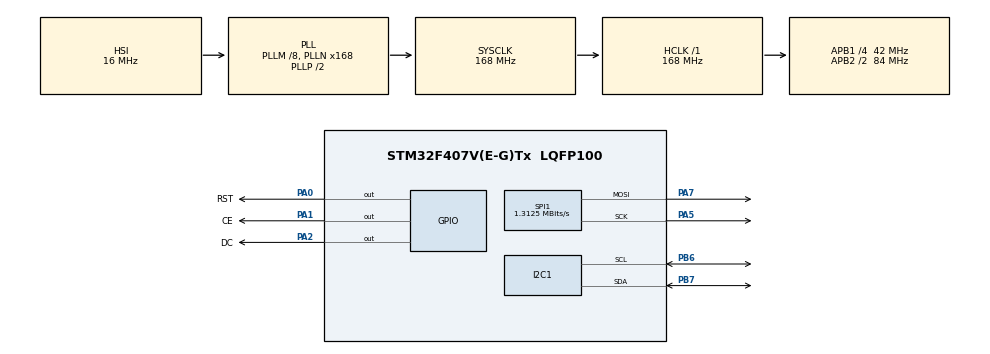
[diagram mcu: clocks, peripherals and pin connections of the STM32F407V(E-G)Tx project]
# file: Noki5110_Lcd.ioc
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Mcu.Family=STM32F4
Mcu.Name=STM32F407V(E-G)Tx
Mcu.Package=LQFP100
NVIC.PriorityGroup=NVIC_PRIORITYGROUP_4
PA0-WKUP.GPIO_Label=RST
PA0-WKUP.Signal=GPIO_Output
PA1.GPIO_Label=CE
PA1.Signal=GPIO_Output
PA2.GPIO_Label=DC
PA2.Signal=GPIO_Output
PA5.Mode=TX_Only_Simplex_Unidirect_Master
PA5.Signal=SPI1_SCK
PA7.Mode=TX_Only_Simplex_Unidirect_Master
PA7.Signal=SPI1_MOSI
PB6.Mode=I2C
PB6.Signal=I2C1_SCL
PB7.Mode=I2C
PB7.Signal=I2C1_SDA
PH0-OSC_IN.Mode=HSE-External-Oscillator
PH0-OSC_IN.Signal=RCC_OSC_IN
PH1-OSC_OUT.Mode=HSE-External-Oscillator
PH1-OSC_OUT.Signal=RCC_OSC_OUT
ProjectManager.HeapSize=0x200
ProjectManager.StackSize=0x400
ProjectManager.TargetToolchain=STM32CubeIDE
RCC.48MHZClocksFreq_Value=84000000
RCC.AHBFreq_Value=168000000
RCC.APB1CLKDivider=RCC_HCLK_DIV4
RCC.APB1Freq_Value=42000000
RCC.APB1TimFreq_Value=84000000
RCC.APB2CLKDivider=RCC_HCLK_DIV2
RCC.APB2Freq_Value=84000000
RCC.APB2TimFreq_Value=168000000
RCC.CortexFreq_Value=168000000
RCC.HCLKFreq_Value=168000000
RCC.HSE_VALUE=8000000
RCC.HSI_VALUE=16000000
RCC.LSE_VALUE=32768
RCC.PLLM=8
RCC.PLLN=168
RCC.SYSCLKFreq_VALUE=168000000
RCC.SYSCLKSource=RCC_SYSCLKSOURCE_PLLCLK
RCC.VCOOutputFreq_Value=336000000
SPI1.BaudRatePrescaler=SPI_BAUDRATEPRESCALER_64
SPI1.CalculateBaudRate=1.3125 MBits/s
SPI1.Direction=SPI_DIRECTION_2LINES
SPI1.Mode=SPI_MODE_MASTER
SPI1.VirtualType=VM_MASTER
board=custom

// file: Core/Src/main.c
/* USER CODE BEGIN Header */
/**
  ******************************************************************************
  * @file           : main.c
  * @brief          : Main program body
  ******************************************************************************
  * @attention
  *
  * Copyright (c) 2025 STMicroelectronics.
  * All rights reserved.
  *
  * This software is licensed under terms that can be found in the LICENSE file
  * in the root directory of this software component.
  * If no LICENSE file comes with this software, it is provided AS-IS.
  *
  ******************************************************************************
  */
/* USER CODE END Header */
#include "main.h"
#include "math.h"
#include <stdio.h>

/* USER CODE BEGIN PD */
#define LCD_RST_PORT GPIOA
#define LCD_RST_PIN  GPIO_PIN_0
#define LCD_CE_PORT  GPIOA
#define LCD_CE_PIN   GPIO_PIN_1
#define LCD_DC_PORT  GPIOA
#define LCD_DC_PIN   GPIO_PIN_2

#define SHT31_ADDR (0x44 << 1)
/* USER CODE END PD */

I2C_HandleTypeDef hi2c1;

SPI_HandleTypeDef hspi1;

/* USER CODE BEGIN PV */
const uint8_t ASCII[][5] = {
		0x00, 0x00, 0x00, 0x00, 0x00,  // 0x00 (nul)
			0x3E, 0x5B, 0x4F, 0x5B, 0x3E,  // 0x01 (soh)
			0x3E, 0x6B, 0x4F, 0x6B, 0x3E,  // 0x02 (stx)
			0x1C, 0x3E, 0x7C, 0x3E, 0x1C,  // 0x03 (etx)
			0x18, 0x3C, 0x7E, 0x3C, 0x18,  // 0x04 (eot)
			0x1C, 0x57, 0x7D, 0x57, 0x1C,  // 0x05 (enq)
			0x1C, 0x5E, 0x7F, 0x5E, 0x1C,  // 0x06 (ack)
			0x00, 0x18, 0x3C, 0x18, 0x00,  // 0x07 (bel)
			0xFF, 0xE7, 0xC3, 0xE7, 0xFF,  // 0x08 (bs)
			0x00, 0x18, 0x24, 0x18, 0x00,  // 0x09 (tab)
			0xFF, 0xE7, 0xDB, 0xE7, 0xFF,  // 0x0A (lf)
			0x30, 0x48, 0x3A, 0x06, 0x0E,  // 0x0B (vt)
			0x26, 0x29, 0x79, 0x29, 0x26,  // 0x0C (np)
			0x40, 0x7F, 0x05, 0x05, 0x07,  // 0x0D (cr)
			0x40, 0x7F, 0x05, 0x25, 0x3F,  // 0x0E (so)
			0x5A, 0x3C, 0xE7, 0x3C, 0x5A,  // 0x0F (si)
			0x7F, 0x3E, 0x1C, 0x1C, 0x08,  // 0x10 (dle)
			0x08, 0x1C, 0x1C, 0x3E, 0x7F,  // 0x11 (dc1)
			0x14, 0x22, 0x7F, 0x22, 0x14,  // 0x12 (dc2)
			0x5F, 0x5F, 0x00, 0x5F, 0x5F,  // 0x13 (dc3)
			0x06, 0x09, 0x7F, 0x01, 0x7F,  // 0x14 (dc4)
			0x00, 0x66, 0x89, 0x95, 0x6A,  // 0x15 (nak)
			0x60, 0x60, 0x60, 0x60, 0x60,  // 0x16 (syn)
			0x94, 0xA2, 0xFF, 0xA2, 0x94,  // 0x17 (etb)
			0x08, 0x04, 0x7E, 0x04, 0x08,  // 0x18 (can)
			0x10, 0x20, 0x7E, 0x20, 0x10,  // 0x19 (em)
			0x08, 0x08, 0x2A, 0x1C, 0x08,  // 0x1A (eof)
			0x08, 0x1C, 0x2A, 0x08, 0x08,  // 0x1B (esc)
			0x1E, 0x10, 0x10, 0x10, 0x10,  // 0x1C (fs)
			0x0C, 0x1E, 0x0C, 0x1E, 0x0C,  // 0x1D (gs)
			0x30, 0x38, 0x3E, 0x38, 0x30,  // 0x1E (rs)
			0x06, 0x0E, 0x3E, 0x0E, 0x06,  // 0x1F (us)
			0x00, 0x00, 0x00, 0x00, 0x00,  // 0x20
			0x00, 0x00, 0x5F, 0x00, 0x00,  // 0x21 !
			0x00, 0x07, 0x00, 0x07, 0x00,  // 0x22 "
			0x14, 0x7F, 0x14, 0x7F, 0x14,  // 0x23 #
			0x24, 0x2A, 0x7F, 0x2A, 0x12,  // 0x24 $
			0x23, 0x13, 0x08, 0x64, 0x62,  // 0x25 %
			0x36, 0x49, 0x56, 0x20, 0x50,  // 0x26 &
			0x00, 0x08, 0x07, 0x03, 0x00,  // 0x27 '
			0x00, 0x1C, 0x22, 0x41, 0x00,  // 0x28 (
			0x00, 0x41, 0x22, 0x1C, 0x00,  // 0x29 )
			0x2A, 0x1C, 0x7F, 0x1C, 0x2A,  // 0x2A *
			0x08, 0x08, 0x3E, 0x08, 0x08,  // 0x2B +
			0x00, 0x80, 0x70, 0x30, 0x00,  // 0x2C ,
			0x08, 0x08, 0x08, 0x08, 0x08,  // 0x2D -
			0x00, 0x00, 0x60, 0x60, 0x00,  // 0x2E .
			0x20, 0x10, 0x08, 0x04, 0x02,  // 0x2F /
			0x3E, 0x51, 0x49, 0x45, 0x3E,  // 0x30 0
			0x00, 0x42, 0x7F, 0x40, 0x00,  // 0x31 1
			0x72, 0x49, 0x49, 0x49, 0x46,  // 0x32 2
			0x21, 0x41, 0x49, 0x4D, 0x33,  // 0x33 3
			0x18, 0x14, 0x12, 0x7F, 0x10,  // 0x34 4
			0x27, 0x45, 0x45, 0x45, 0x39,  // 0x35 5
			0x3C, 0x4A, 0x49, 0x49, 0x31,  // 0x36 6
			0x41, 0x21, 0x11, 0x09, 0x07,  // 0x37 7
			0x36, 0x49, 0x49, 0x49, 0x36,  // 0x38 8
			0x46, 0x49, 0x49, 0x29, 0x1E,  // 0x39 9
			0x00, 0x00, 0x14, 0x00, 0x00,  // 0x3A :
			0x00, 0x40, 0x34, 0x00, 0x00,  // 0x3B ;
			0x00, 0x08, 0x14, 0x22, 0x41,  // 0x3C <
			0x14, 0x14, 0x14, 0x14, 0x14,  // 0x3D =
			0x00, 0x41, 0x22, 0x14, 0x08,  // 0x3E >
			0x02, 0x01, 0x59, 0x09, 0x06,  // 0x3F ?
			0x3E, 0x41, 0x5D, 0x59, 0x4E,  // 0x40 @
			0x7C, 0x12, 0x11, 0x12, 0x7C,  // 0x41 A
			0x7F, 0x49, 0x49, 0x49, 0x36,  // 0x42 B
			0x3E, 0x41, 0x41, 0x41, 0x22,  // 0x43 C
			0x7F, 0x41, 0x41, 0x41, 0x3E,  // 0x44 D
			0x7F, 0x49, 0x49, 0x49, 0x41,  // 0x45 E
			0x7F, 0x09, 0x09, 0x09, 0x01,  // 0x46 F
			0x3E, 0x41, 0x41, 0x51, 0x73,  // 0x47 G
			0x7F, 0x08, 0x08, 0x08, 0x7F,  // 0x48 H
			0x00, 0x41, 0x7F, 0x41, 0x00,  // 0x49 I
			0x20, 0x40, 0x41, 0x3F, 0x01,  // 0x4A J
			0x7F, 0x08, 0x14, 0x22, 0x41,  // 0x4B K
			0x7F, 0x40, 0x40, 0x40, 0x40,  // 0x4C L
			0x7F, 0x02, 0x1C, 0x02, 0x7F,  // 0x4D M
			0x7F, 0x04, 0x08, 0x10, 0x7F,  // 0x4E N
			0x3E, 0x41, 0x41, 0x41, 0x3E,  // 0x4F O
			0x7F, 0x09, 0x09, 0x09, 0x06,  // 0x50 P
			0x3E, 0x41, 0x51, 0x21, 0x5E,  // 0x51 Q
			0x7F, 0x09, 0x19, 0x29, 0x46,  // 0x52 R
			0x26, 0x49, 0x49, 0x49, 0x32,  // 0x53 S
			0x03, 0x01, 0x7F, 0x01, 0x03,  // 0x54 T
			0x3F, 0x40, 0x40, 0x40, 0x3F,  // 0x55 U
			0x1F, 0x20, 0x40, 0x20, 0x1F,  // 0x56 V
			0x3F, 0x40, 0x38, 0x40, 0x3F,  // 0x57 W
			0x63, 0x14, 0x08, 0x14, 0x63,  // 0x58 X
			0x03, 0x04, 0x78, 0x04, 0x03,  // 0x59 Y
			0x61, 0x59, 0x49, 0x4D, 0x43,  // 0x5A Z
			0x00, 0x7F, 0x41, 0x41, 0x41,  // 0x5B [
			0x02, 0x04, 0x08, 0x10, 0x20,  // 0x5C backslash
			0x00, 0x41, 0x41, 0x41, 0x7F,  // 0x5D ]
			0x04, 0x02, 0x01, 0x02, 0x04,  // 0x5E ^
			0x40, 0x40, 0x40, 0x40, 0x40,  // 0x5F _
			0x00, 0x03, 0x07, 0x08, 0x00,  // 0x60 `
			0x20, 0x54, 0x54, 0x78, 0x40,  // 0x61 a
			0x7F, 0x28, 0x44, 0x44, 0x38,  // 0x62 b
			0x38, 0x44, 0x44, 0x44, 0x28,  // 0x63 c
			0x38, 0x44, 0x44, 0x28, 0x7F,  // 0x64 d
			0x38, 0x54, 0x54, 0x54, 0x18,  // 0x65 e
			0x00, 0x08, 0x7E, 0x09, 0x02,  // 0x66 f
			0x18, 0xA4, 0xA4, 0x9C, 0x78,  // 0x67 g
			0x7F, 0x08, 0x04, 0x04, 0x78,  // 0x68 h
			0x00, 0x44, 0x7D, 0x40, 0x00,  // 0x69 i
			0x20, 0x40, 0x40, 0x3D, 0x00,  // 0x6A j
			0x7F, 0x10, 0x28, 0x44, 0x00,  // 0x6B k
			0x00, 0x41, 0x7F, 0x40, 0x00,  // 0x6C l
			0x7C, 0x04, 0x78, 0x04, 0x78,  // 0x6D m
			0x7C, 0x08, 0x04, 0x04, 0x78,  // 0x6E n
			0x38, 0x44, 0x44, 0x44, 0x38,  // 0x6F o
			0xFC, 0x18, 0x24, 0x24, 0x18,  // 0x70 p
			0x18, 0x24, 0x24, 0x18, 0xFC,  // 0x71 q
			0x7C, 0x08, 0x04, 0x04, 0x08,  // 0x72 r
			0x48, 0x54, 0x54, 0x54, 0x24,  // 0x73 s
			0x04, 0x04, 0x3F, 0x44, 0x24,  // 0x74 t
			0x3C, 0x40, 0x40, 0x20, 0x7C,  // 0x75 u
			0x1C, 0x20, 0x40, 0x20, 0x1C,  // 0x76 v
			0x3C, 0x40, 0x30, 0x40, 0x3C,  // 0x77 w
			0x44, 0x28, 0x10, 0x28, 0x44,  // 0x78 x
			0x4C, 0x90, 0x90, 0x90, 0x7C,  // 0x79 y
			0x44, 0x64, 0x54, 0x4C, 0x44,  // 0x7A z
			0x00, 0x08, 0x36, 0x41, 0x00,  // 0x7B {
			0x00, 0x00, 0x77, 0x00, 0x00,  // 0x7C |
			0x00, 0x41, 0x36, 0x08, 0x00,  // 0x7D }
			0x02, 0x01, 0x02, 0x04, 0x02,  // 0x7E ~
			0x3C, 0x26, 0x23, 0x26, 0x3C,  // 0x7F
			0x1E, 0xA1, 0xA1, 0x61, 0x12,  // 0x80
			0x3A, 0x40, 0x40, 0x20, 0x7A,  // 0x81
			0x38, 0x54, 0x54, 0x55, 0x59,  // 0x82
			0x21, 0x55, 0x55, 0x79, 0x41,  // 0x83
			0x22, 0x54, 0x54, 0x78, 0x42,  // 0x84
			0x21, 0x55, 0x54, 0x78, 0x40,  // 0x85
			0x20, 0x54, 0x55, 0x79, 0x40,  // 0x86
			0x0C, 0x1E, 0x52, 0x72, 0x12,  // 0x87
			0x39, 0x55, 0x55, 0x55, 0x59,  // 0x88
			0x39, 0x54, 0x54, 0x54, 0x59,  // 0x89
			0x39, 0x55, 0x54, 0x54, 0x58,  // 0x8A
			0x00, 0x00, 0x45, 0x7C, 0x41,  // 0x8B
			0x00, 0x02, 0x45, 0x7D, 0x42,  // 0x8C
			0x00, 0x01, 0x45, 0x7C, 0x40,  // 0x8D
			0x7D, 0x12, 0x11, 0x12, 0x7D,  // 0x8E
			0xF0, 0x28, 0x25, 0x28, 0xF0,  // 0x8F
			0x7C, 0x54, 0x55, 0x45, 0x00,  // 0x90
			0x20, 0x54, 0x54, 0x7C, 0x54,  // 0x91
			0x7C, 0x0A, 0x09, 0x7F, 0x49,  // 0x92
			0x32, 0x49, 0x49, 0x49, 0x32,  // 0x93
			0x3A, 0x44, 0x44, 0x44, 0x3A,  // 0x94
			0x32, 0x4A, 0x48, 0x48, 0x30,  // 0x95
			0x3A, 0x41, 0x41, 0x21, 0x7A,  // 0x96
			0x3A, 0x42, 0x40, 0x20, 0x78,  // 0x97
			0x00, 0x9D, 0xA0, 0xA0, 0x7D,  // 0x98
			0x3D, 0x42, 0x42, 0x42, 0x3D,  // 0x99
			0x3D, 0x40, 0x40, 0x40, 0x3D,  // 0x9A
			0x3C, 0x24, 0xFF, 0x24, 0x24,  // 0x9B
			0x48, 0x7E, 0x49, 0x43, 0x66,  // 0x9C
			0x2B, 0x2F, 0xFC, 0x2F, 0x2B,  // 0x9D
			0xFF, 0x09, 0x29, 0xF6, 0x20,  // 0x9E
			0xC0, 0x88, 0x7E, 0x09, 0x03,  // 0x9F
			0x20, 0x54, 0x54, 0x79, 0x41,  // 0xA0
			0x00, 0x00, 0x44, 0x7D, 0x41,  // 0xA1
			0x30, 0x48, 0x48, 0x4A, 0x32,  // 0xA2
			0x38, 0x40, 0x40, 0x22, 0x7A,  // 0xA3
			0x00, 0x7A, 0x0A, 0x0A, 0x72,  // 0xA4
			0x7D, 0x0D, 0x19, 0x31, 0x7D,  // 0xA5
			0x26, 0x29, 0x29, 0x2F, 0x28,  // 0xA6
			0x26, 0x29, 0x29, 0x29, 0x26,  // 0xA7
			0x30, 0x48, 0x4D, 0x40, 0x20,  // 0xA8
			0x38, 0x08, 0x08, 0x08, 0x08,  // 0xA9
			0x08, 0x08, 0x08, 0x08, 0x38,  // 0xAA
			0x2F, 0x10, 0xC8, 0xAC, 0xBA,  // 0xAB
			0x2F, 0x10, 0x28, 0x34, 0xFA,  // 0xAC
			0x00, 0x00, 0x7B, 0x00, 0x00,  // 0xAD
			0x08, 0x14, 0x2A, 0x14, 0x22,  // 0xAE
			0x22, 0x14, 0x2A, 0x14, 0x08,  // 0xAF
			0x55, 0x00, 0x55, 0x00, 0x55,  // 0xB0
			0xAA, 0x55, 0xAA, 0x55, 0xAA,  // 0xB1
			0xFF, 0x55, 0xFF, 0x55, 0xFF,  // 0xB2
			0x00, 0x00, 0x00, 0xFF, 0x00,  // 0xB3
			0x10, 0x10, 0x10, 0xFF, 0x00,  // 0xB4
			0x14, 0x14, 0x14, 0xFF, 0x00,  // 0xB5
			0x10, 0x10, 0xFF, 0x00, 0xFF,  // 0xB6
			0x10, 0x10, 0xF0, 0x10, 0xF0,  // 0xB7
			0x14, 0x14, 0x14, 0xFC, 0x00,  // 0xB8
			0x14, 0x14, 0xF7, 0x00, 0xFF,  // 0xB9
			0x00, 0x00, 0xFF, 0x00, 0xFF,  // 0xBA
			0x14, 0x14, 0xF4, 0x04, 0xFC,  // 0xBB
			0x14, 0x14, 0x17, 0x10, 0x1F,  // 0xBC
			0x10, 0x10, 0x1F, 0x10, 0x1F,  // 0xBD
			0x14, 0x14, 0x14, 0x1F, 0x00,  // 0xBE
			0x10, 0x10, 0x10, 0xF0, 0x00,  // 0xBF
			0x00, 0x00, 0x00, 0x1F, 0x10,  // 0xC0
			0x10, 0x10, 0x10, 0x1F, 0x10,  // 0xC1
			0x10, 0x10, 0x10, 0xF0, 0x10,  // 0xC2
			0x00, 0x00, 0x00, 0xFF, 0x10,  // 0xC3
			0x10, 0x10, 0x10, 0x10, 0x10,  // 0xC4
			0x10, 0x10, 0x10, 0xFF, 0x10,  // 0xC5
			0x00, 0x00, 0x00, 0xFF, 0x14,  // 0xC6
			0x00, 0x00, 0xFF, 0x00, 0xFF,  // 0xC7
			0x00, 0x00, 0x1F, 0x10, 0x17,  // 0xC8
			0x00, 0x00, 0xFC, 0x04, 0xF4,  // 0xC9
			0x14, 0x14, 0x17, 0x10, 0x17,  // 0xCA
			0x14, 0x14, 0xF4, 0x04, 0xF4,  // 0xCB
			0x00, 0x00, 0xFF, 0x00, 0xF7,  // 0xCC
			0x14, 0x14, 0x14, 0x14, 0x14,  // 0xCD
			0x14, 0x14, 0xF7, 0x00, 0xF7,  // 0xCE
			0x14, 0x14, 0x14, 0x17, 0x14,  // 0xCF
			0x10, 0x10, 0x1F, 0x10, 0x1F,  // 0xD0
			0x14, 0x14, 0x14, 0xF4, 0x14,  // 0xD1
			0x10, 0x10, 0xF0, 0x10, 0xF0,  // 0xD2
			0x00, 0x00, 0x1F, 0x10, 0x1F,  // 0xD3
			0x00, 0x00, 0x00, 0x1F, 0x14,  // 0xD4
			0x00, 0x00, 0x00, 0xFC, 0x14,  // 0xD5
			0x00, 0x00, 0xF0, 0x10, 0xF0,  // 0xD6
			0x10, 0x10, 0xFF, 0x10, 0xFF,  // 0xD7
			0x14, 0x14, 0x14, 0xFF, 0x14,  // 0xD8
			0x10, 0x10, 0x10, 0x1F, 0x00,  // 0xD9
			0x00, 0x00, 0x00, 0xF0, 0x10,  // 0xDA
			0xFF, 0xFF, 0xFF, 0xFF, 0xFF,  // 0xDB
			0xF0, 0xF0, 0xF0, 0xF0, 0xF0,  // 0xDC
			0xFF, 0xFF, 0xFF, 0x00, 0x00,  // 0xDD
			0x00, 0x00, 0x00, 0xFF, 0xFF,  // 0xDE
			0x0F, 0x0F, 0x0F, 0x0F, 0x0F,  // 0xDF
			0x38, 0x44, 0x44, 0x38, 0x44,  // 0xE0
			0xFC, 0x4A, 0x4A, 0x4A, 0x34,  // 0xE1
			0x7E, 0x02, 0x02, 0x06, 0x06,  // 0xE2
			0x02, 0x7E, 0x02, 0x7E, 0x02,  // 0xE3
			0x63, 0x55, 0x49, 0x41, 0x63,  // 0xE4
			0x38, 0x44, 0x44, 0x3C, 0x04,  // 0xE5
			0x40, 0x7E, 0x20, 0x1E, 0x20,  // 0xE6
			0x06, 0x02, 0x7E, 0x02, 0x02,  // 0xE7
			0x99, 0xA5, 0xE7, 0xA5, 0x99,  // 0xE8
			0x1C, 0x2A, 0x49, 0x2A, 0x1C,  // 0xE9
			0x4C, 0x72, 0x01, 0x72, 0x4C,  // 0xEA
			0x30, 0x4A, 0x4D, 0x4D, 0x30,  // 0xEB
			0x30, 0x48, 0x78, 0x48, 0x30,  // 0xEC
			0xBC, 0x62, 0x5A, 0x46, 0x3D,  // 0xED
			0x3E, 0x49, 0x49, 0x49, 0x00,  // 0xEE
			0x7E, 0x01, 0x01, 0x01, 0x7E,  // 0xEF
			0x2A, 0x2A, 0x2A, 0x2A, 0x2A,  // 0xF0
			0x44, 0x44, 0x5F, 0x44, 0x44,  // 0xF1
			0x40, 0x51, 0x4A, 0x44, 0x40,  // 0xF2
			0x40, 0x44, 0x4A, 0x51, 0x40,  // 0xF3
			0x00, 0x00, 0xFF, 0x01, 0x03,  // 0xF4
			0xE0, 0x80, 0xFF, 0x00, 0x00,  // 0xF5
			0x08, 0x08, 0x6B, 0x6B, 0x08,  // 0xF6
			0x36, 0x12, 0x36, 0x24, 0x36,  // 0xF7
			0x06, 0x0F, 0x09, 0x0F, 0x06,  // 0xF8
			0x00, 0x00, 0x18, 0x18, 0x00,  // 0xF9
			0x00, 0x00, 0x10, 0x10, 0x00,  // 0xFA
			0x30, 0x40, 0xFF, 0x01, 0x01,  // 0xFB
			0x00, 0x1F, 0x01, 0x01, 0x1E,  // 0xFC
			0x00, 0x19, 0x1D, 0x17, 0x12,  // 0xFD
			0x00, 0x3C, 0x3C, 0x3C, 0x3C,  // 0xFE
			0x00, 0x00, 0x00, 0x00, 0x00   // 0xFF
};
const uint8_t icon_temp[8] = {
    0b00000000,
    0b00000000,
    0b01111100,
    0b01000100,
    0b01000100,
    0b01111100,
    0b00111000,
    0b00000000
};

const uint8_t icon_humidity[8] = {
    0b00010000,
    0b00111000,
    0b01111100,
    0b01111100,
    0b01111100,
    0b00111000,
    0b00010000,
    0b00000000
};

float temperature = 0.0f;
float humidity = 0.0f;
char buffer[32];
/* USER CODE END PV */

void SystemClock_Config(void);
static void MX_GPIO_Init(void);
static void MX_SPI1_Init(void);
static void MX_I2C1_Init(void);

/* USER CODE BEGIN 0 */
void LCD_SendCommand(uint8_t cmd) {
    HAL_GPIO_WritePin(LCD_DC_PORT, LCD_DC_PIN, GPIO_PIN_RESET); // DC = 0
    HAL_GPIO_WritePin(LCD_CE_PORT, LCD_CE_PIN, GPIO_PIN_RESET); // CE = 0

    HAL_SPI_Transmit(&hspi1, &cmd, 1, HAL_MAX_DELAY);

    HAL_GPIO_WritePin(LCD_CE_PORT, LCD_CE_PIN, GPIO_PIN_SET);   // CE = 1
}

void LCD_SendData(uint8_t data) {
    HAL_GPIO_WritePin(LCD_DC_PORT, LCD_DC_PIN, GPIO_PIN_SET);   // DC = 1
    HAL_GPIO_WritePin(LCD_CE_PORT, LCD_CE_PIN, GPIO_PIN_RESET); // CE = 0

    HAL_SPI_Transmit(&hspi1, &data, 1, HAL_MAX_DELAY);

    HAL_GPIO_WritePin(LCD_CE_PORT, LCD_CE_PIN, GPIO_PIN_SET);   // CE = 1
}

void LCD_Clear(void) {
    // LCD'nin RAM'ini sıfırla (tüm piksel verisi 0x00)
    for (uint16_t i = 0; i < 504; i++) { // 84 x 48 / 8 = 504 byte
        LCD_SendData(0x00);
    }

    // İmleci başa al (optional)
    LCD_SendCommand(0x80); // X = 0
    LCD_SendCommand(0x40); // Y = 0
}

void LCD_Init(void) {
    // Reset işlemi
    HAL_GPIO_WritePin(LCD_RST_PORT, LCD_RST_PIN, GPIO_PIN_RESET);
    HAL_Delay(10);
    HAL_GPIO_WritePin(LCD_RST_PORT, LCD_RST_PIN, GPIO_PIN_SET);
    LCD_SendCommand(0x21); // Extended instruction set
    LCD_SendCommand(0xB1); // Vop = kontrast
    LCD_SendCommand(0x04); // Temperature Coefficient
    LCD_SendCommand(0x14); // Bias mode 1:48
    LCD_SendCommand(0x20); // Temel komut setine dön
    LCD_SendCommand(0x0C); // Normal display

    LCD_Clear();
}

void LCD_WriteChar(char character) {
    uint8_t index = (uint8_t)character;  // ASCII dizini direkt karakterin kendisi

    for (int i = 0; i < 5; i++) {
        LCD_SendData(ASCII[index][i]);
    }

    LCD_SendData(0x00); // boşluk
}

void LCD_WriteString(const char* str) {
    while (*str) {
        LCD_WriteChar(*str++);
    }
}
void LCD_SetCursor(uint8_t x, uint8_t y) {
    // x: 0 - 83, y: 0 - 5
    LCD_SendCommand(0x80 | x); // X adresi: 0x80 + x
    LCD_SendCommand(0x40 | y); // Y adresi: 0x40 + y
}

void LCD_DrawBitmap(const uint8_t* bitmap, uint8_t width, uint8_t height, uint8_t x, uint8_t y) {
    uint8_t rows = height / 8;

    for (uint8_t row = 0; row < rows; row++) {
        LCD_SetCursor(x, y + row);
        for (uint8_t col = 0; col < width; col++) {
            LCD_SendData(bitmap[row * width + col]);
        }
    }
}

void LCD_DrawIcon(const uint8_t* icon, uint8_t x, uint8_t y) {
    LCD_SetCursor(x, y);
    for (int i = 0; i < 8; i++) {
        LCD_SendData(icon[i]);
    }
}

void SHT31_ReadTempHum(void) {
    uint8_t cmd[2] = {0x2C, 0x06}; // ölçüm başlatma komutu
    uint8_t data[6]; // sıcaklık ve nem 6 byte

    HAL_I2C_Master_Transmit(&hi2c1, SHT31_ADDR, cmd, 2, HAL_MAX_DELAY);
    HAL_Delay(15); // ölçüm süresi için bekle (datasheet öneriyor)
    HAL_I2C_Master_Receive(&hi2c1, SHT31_ADDR, data, 6, HAL_MAX_DELAY);

    // Veri çözümleme
    uint16_t temp_raw = (data[0] << 8) | data[1];
    uint16_t hum_raw  = (data[3] << 8) | data[4];

    // Datasheet formülü
    temperature = -45 + 175 * ((float)temp_raw / 65535.0f);
    humidity = 100 * ((float)hum_raw / 65535.0f);
}

void LCD_DisplayTempHum(void) {
    int t_int = (int)temperature;
    int t_dec = (int)((temperature - t_int) * 10);
    int h_int = (int)humidity;
    int h_dec = (int)((humidity - h_int) * 10);

    LCD_Clear();

    // 🌡️ Sıcaklık
    LCD_DrawIcon(icon_temp, 0, 0);
    LCD_SetCursor(10, 0);
    sprintf(buffer, "%d.%dC", t_int, t_dec);
    LCD_WriteString(buffer);

    // 💧 Nem
    LCD_DrawIcon(icon_humidity, 0, 1);
    LCD_SetCursor(10, 1);
    sprintf(buffer, "%d.%d%%", h_int, h_dec);
    LCD_WriteString(buffer);
}
/* USER CODE END 0 */

int main(void)
{

  /* MCU Configuration--------------------------------------------------------*/

  /* Reset of all peripherals, Initializes the Flash interface and the Systick. */
  HAL_Init();

  /* Configure the system clock */
  SystemClock_Config();

  /* Initialize all configured peripherals */
  MX_GPIO_Init();
  MX_SPI1_Init();
  MX_I2C1_Init();
  /* USER CODE BEGIN 2 */
  LCD_Init();

  /* USER CODE END 2 */

  /* Infinite loop */
  while (1)
  {

    /* USER CODE BEGIN 3 */
      SHT31_ReadTempHum();
      LCD_DisplayTempHum();
      HAL_Delay(1000);
  }
  /* USER CODE END 3 */
}

void SystemClock_Config(void)
{
  RCC_OscInitTypeDef RCC_OscInitStruct = {0};
  RCC_ClkInitTypeDef RCC_ClkInitStruct = {0};

  /** Configure the main internal regulator output voltage
  */
  __HAL_RCC_PWR_CLK_ENABLE();
  __HAL_PWR_VOLTAGESCALING_CONFIG(PWR_REGULATOR_VOLTAGE_SCALE1);

  /** Initializes the RCC Oscillators according to the specified parameters
  * in the RCC_OscInitTypeDef structure.
  */
  RCC_OscInitStruct.OscillatorType = RCC_OSCILLATORTYPE_HSI;
  RCC_OscInitStruct.HSIState = RCC_HSI_ON;
  RCC_OscInitStruct.HSICalibrationValue = RCC_HSICALIBRATION_DEFAULT;
  RCC_OscInitStruct.PLL.PLLState = RCC_PLL_ON;
  RCC_OscInitStruct.PLL.PLLSource = RCC_PLLSOURCE_HSI;
  RCC_OscInitStruct.PLL.PLLM = 8;
  RCC_OscInitStruct.PLL.PLLN = 168;
  RCC_OscInitStruct.PLL.PLLP = RCC_PLLP_DIV2;
  RCC_OscInitStruct.PLL.PLLQ = 4;
  if (HAL_RCC_OscConfig(&RCC_OscInitStruct) != HAL_OK)
  {
    Error_Handler();
  }

  /** Initializes the CPU, AHB and APB buses clocks
  */
  RCC_ClkInitStruct.ClockType = RCC_CLOCKTYPE_HCLK|RCC_CLOCKTYPE_SYSCLK
                              |RCC_CLOCKTYPE_PCLK1|RCC_CLOCKTYPE_PCLK2;
  RCC_ClkInitStruct.SYSCLKSource = RCC_SYSCLKSOURCE_PLLCLK;
  RCC_ClkInitStruct.AHBCLKDivider = RCC_SYSCLK_DIV1;
  RCC_ClkInitStruct.APB1CLKDivider = RCC_HCLK_DIV4;
  RCC_ClkInitStruct.APB2CLKDivider = RCC_HCLK_DIV2;

  if (HAL_RCC_ClockConfig(&RCC_ClkInitStruct, FLASH_LATENCY_5) != HAL_OK)
  {
    Error_Handler();
  }
}

static void MX_I2C1_Init(void)
{

  hi2c1.Instance = I2C1;
  hi2c1.Init.ClockSpeed = 100000;
  hi2c1.Init.DutyCycle = I2C_DUTYCYCLE_2;
  hi2c1.Init.OwnAddress1 = 0;
  hi2c1.Init.AddressingMode = I2C_ADDRESSINGMODE_7BIT;
  hi2c1.Init.DualAddressMode = I2C_DUALADDRESS_DISABLE;
  hi2c1.Init.OwnAddress2 = 0;
  hi2c1.Init.GeneralCallMode = I2C_GENERALCALL_DISABLE;
  hi2c1.Init.NoStretchMode = I2C_NOSTRETCH_DISABLE;
  if (HAL_I2C_Init(&hi2c1) != HAL_OK)
  {
    Error_Handler();
  }

}

static void MX_SPI1_Init(void)
{

  /* SPI1 parameter configuration*/
  hspi1.Instance = SPI1;
  hspi1.Init.Mode = SPI_MODE_MASTER;
  hspi1.Init.Direction = SPI_DIRECTION_2LINES;
  hspi1.Init.DataSize = SPI_DATASIZE_8BIT;
  hspi1.Init.CLKPolarity = SPI_POLARITY_LOW;
  hspi1.Init.CLKPhase = SPI_PHASE_1EDGE;
  hspi1.Init.NSS = SPI_NSS_SOFT;
  hspi1.Init.BaudRatePrescaler = SPI_BAUDRATEPRESCALER_64;
  hspi1.Init.FirstBit = SPI_FIRSTBIT_MSB;
  hspi1.Init.TIMode = SPI_TIMODE_DISABLE;
  hspi1.Init.CRCCalculation = SPI_CRCCALCULATION_DISABLE;
  hspi1.Init.CRCPolynomial = 10;
  if (HAL_SPI_Init(&hspi1) != HAL_OK)
  {
    Error_Handler();
  }

}

static void MX_GPIO_Init(void)
{
  GPIO_InitTypeDef GPIO_InitStruct = {0};

  /* GPIO Ports Clock Enable */
  __HAL_RCC_GPIOH_CLK_ENABLE();
  __HAL_RCC_GPIOA_CLK_ENABLE();
  __HAL_RCC_GPIOB_CLK_ENABLE();

  /*Configure GPIO pin Output Level */
  HAL_GPIO_WritePin(GPIOA, RST_Pin|CE_Pin|DC_Pin, GPIO_PIN_RESET);

  /*Configure GPIO pins : RST_Pin CE_Pin DC_Pin */
  GPIO_InitStruct.Pin = RST_Pin|CE_Pin|DC_Pin;
  GPIO_InitStruct.Mode = GPIO_MODE_OUTPUT_PP;
  GPIO_InitStruct.Pull = GPIO_NOPULL;
  GPIO_InitStruct.Speed = GPIO_SPEED_FREQ_LOW;
  HAL_GPIO_Init(GPIOA, &GPIO_InitStruct);

}

void Error_Handler(void)
{
  __disable_irq();
  while (1)
  {
  }
}
